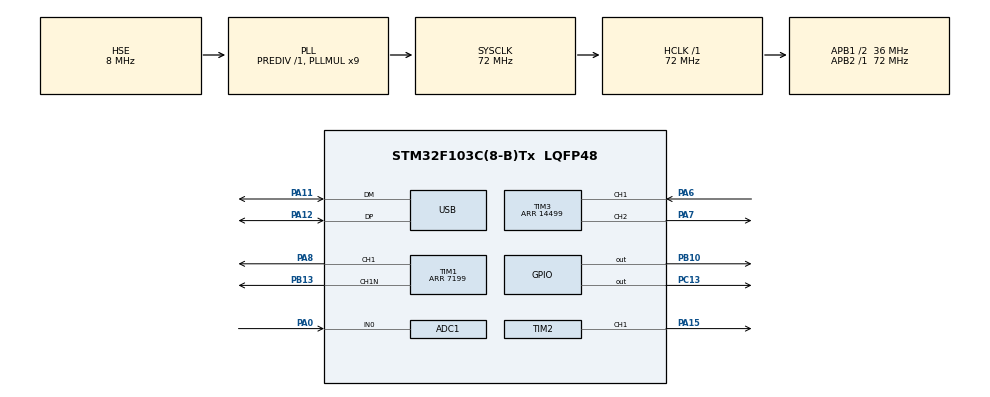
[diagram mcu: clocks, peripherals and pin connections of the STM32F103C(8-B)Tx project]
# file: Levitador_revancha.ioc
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ADC1.Channel-0\#ChannelRegularConversion=ADC_CHANNEL_0
ADC1.ExternalTrigConv=ADC_EXTERNALTRIGCONV_T3_TRGO
ADC1.NbrOfConversionFlag=1
ADC1.Rank-0\#ChannelRegularConversion=1
ADC1.SamplingTime-0\#ChannelRegularConversion=ADC_SAMPLETIME_1CYCLE_5
ADC1.master=1
Mcu.Family=STM32F1
Mcu.Name=STM32F103C(8-B)Tx
Mcu.Package=LQFP48
NVIC.ADC1_2_IRQn=true\:0\:0\:false\:false\:true\:true\:true\:true
NVIC.PriorityGroup=NVIC_PRIORITYGROUP_4
NVIC.TIM3_IRQn=true\:0\:0\:false\:false\:true\:true\:true\:true
NVIC.USB_LP_CAN1_RX0_IRQn=true\:0\:0\:false\:false\:true\:true\:true\:true
PA0-WKUP.Signal=ADCx_IN0
PA11.Mode=Device
PA11.Signal=USB_DM
PA12.Mode=Device
PA12.Signal=USB_DP
PA13.Mode=Serial_Wire
PA13.Signal=SYS_JTMS-SWDIO
PA14.Mode=Serial_Wire
PA14.Signal=SYS_JTCK-SWCLK
PA15.Signal=S_TIM2_CH1_ETR
PA6.Signal=S_TIM3_CH1
PA7.Signal=S_TIM3_CH2
PA8.Signal=S_TIM1_CH1
PB10.Signal=GPIO_Output
PB13.Mode=PWM Generation1 CH1 CH1N
PB13.Signal=TIM1_CH1N
PC13-TAMPER-RTC.Signal=GPIO_Output
PC14-OSC32_IN.Mode=LSE-External-Oscillator
PC14-OSC32_IN.Signal=RCC_OSC32_IN
PC15-OSC32_OUT.Mode=LSE-External-Oscillator
PC15-OSC32_OUT.Signal=RCC_OSC32_OUT
PD0-OSC_IN.Mode=HSE-External-Oscillator
PD0-OSC_IN.Signal=RCC_OSC_IN
PD1-OSC_OUT.Mode=HSE-External-Oscillator
PD1-OSC_OUT.Signal=RCC_OSC_OUT
ProjectManager.HeapSize=0x200
ProjectManager.StackSize=0x400
ProjectManager.TargetToolchain=STM32CubeIDE
RCC.ADCPresc=RCC_ADCPCLK2_DIV6
RCC.AHBFreq_Value=72000000
RCC.APB1CLKDivider=RCC_HCLK_DIV2
RCC.APB1Freq_Value=36000000
RCC.APB1TimFreq_Value=72000000
RCC.APB2Freq_Value=72000000
RCC.APB2TimFreq_Value=72000000
RCC.HCLKFreq_Value=72000000
RCC.PLLMUL=RCC_PLL_MUL9
RCC.SYSCLKFreq_VALUE=72000000
RCC.SYSCLKSource=RCC_SYSCLKSOURCE_PLLCLK
RCC.USBFreq_Value=48000000
RCC.USBPrescaler=RCC_USBCLKSOURCE_PLL_DIV1_5
SH.ADCx_IN0.0=ADC1_IN0,IN0
SH.S_TIM1_CH1.0=TIM1_CH1,PWM Generation1 CH1 CH1N
SH.S_TIM2_CH1_ETR.0=TIM2_CH1,PWM Generation1 CH1
SH.S_TIM3_CH1.0=TIM3_CH1,Input_Capture1_from_TI1
SH.S_TIM3_CH2.0=TIM3_CH2,PWM Generation2 CH2
TIM1.Channel-PWM\ Generation1\ CH1\ CH1N=TIM_CHANNEL_1
TIM1.DeadTime=40
TIM1.OCMode_PWM-PWM\ Generation1\ CH1\ CH1N=TIM_OCMODE_PWM1
TIM1.OCNPolarity_1=TIM_OCNPOLARITY_LOW
TIM1.OCPolarity_1=TIM_OCPOLARITY_LOW
TIM1.Period=7199
TIM1.Pulse-PWM\ Generation1\ CH1\ CH1N=3600
TIM1.TIM_MasterOutputTrigger=TIM_TRGO_UPDATE
TIM2.Channel-PWM\ Generation1\ CH1=TIM_CHANNEL_1
TIM2.OCPolarity_1=TIM_OCPOLARITY_LOW
TIM2.Period=71
TIM2.Pulse-PWM\ Generation1\ CH1=35
TIM3.Channel-Input_Capture1_from_TI1=TIM_CHANNEL_1
TIM3.Channel-PWM\ Generation2\ CH2=TIM_CHANNEL_2
TIM3.ICFilter_CH1=15
TIM3.Period=14499
TIM3.Pulse-PWM\ Generation2\ CH2=72
TIM3.TIM_MasterOutputTrigger=TIM_TRGO_UPDATE
USB_DEVICE.CLASS_NAME_FS=CDC
USB_DEVICE.VirtualMode=Cdc
USB_DEVICE.VirtualModeFS=Cdc_FS
VP_USB_DEVICE_VS_USB_DEVICE_CDC_FS.Mode=CDC_FS
board=custom

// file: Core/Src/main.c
/* USER CODE BEGIN Header */
/**
 ******************************************************************************
 * @file           : main.c
 * @brief          : Main program body
 ******************************************************************************
 * @attention
 *
 * Copyright (c) 2024 STMicroelectronics.
 * All rights reserved.
 *
 * This software is licensed under terms that can be found in the LICENSE file
 * in the root directory of this software component.
 * If no LICENSE file comes with this software, it is provided AS-IS.
 *
 ******************************************************************************
 */
/* USER CODE END Header */
#include "main.h"
#include "usb_device.h"

/* USER CODE BEGIN Includes */
// My includes
#include "string.h"
#include "usbd_cdc_if.h"
#include "stdlib.h"
#include "stdint.h"
/* USER CODE END Includes */

ADC_HandleTypeDef hadc1;

TIM_HandleTypeDef htim1;
TIM_HandleTypeDef htim2;
TIM_HandleTypeDef htim3;

void SystemClock_Config(void);
static void MX_GPIO_Init(void);
static void MX_ADC1_Init(void);
static void MX_TIM1_Init(void);
static void MX_TIM2_Init(void);
static void MX_TIM3_Init(void);

/* USER CODE BEGIN 0 */

#define WORD_LENGHT 32
#define INTEGER_BITS 6
#define FRACTIONAL_BITS 26

typedef int32_t fixed_point_t;
#define FLOAT_TO_FIXED(x) ((fixed_point_t)((x) * (1 << FRACTIONAL_BITS)))

// conversion entre fixed point y int
fixed_point_t float_to_fixed(float x)
{
  return (fixed_point_t)(x * (1 << FRACTIONAL_BITS));
}

float fixed_to_float(fixed_point_t x)
{
  return (float)x / (1 << FRACTIONAL_BITS);
}

fixed_point_t fixed_multiply(fixed_point_t a, fixed_point_t b)
{
  return (fixed_point_t)(((int64_t)a * b) >> FRACTIONAL_BITS);
}

void matmul(int rowsA, int colsA, int colsB,
            const fixed_point_t A[rowsA][colsA],
            const fixed_point_t B[colsA][colsB],
            fixed_point_t result[rowsA][colsB])
{
  for (int i = 0; i < rowsA; i++)
  {
    for (int j = 0; j < colsB; j++)
    {
      result[i][j] = 0;
      for (int k = 0; k < colsA; k++)
      {
        result[i][j] += fixed_multiply(A[i][k], B[k][j]);
      }
    }
  }
}

/**
 * @brief Adds two vectors of fixed-point numbers element-wise.
 *
 * This function takes two input vectors `a` and `b`, each of size `size` and
 * containing fixed-point numbers, and computes their element-wise sum, storing
 * the result in the `result` vector.
 *
 * @param size The number of elements in each vector.
 * @param a The first input vector of fixed-point numbers.
 * @param b The second input vector of fixed-point numbers.
 * @param result The output vector where the element-wise sum of `a` and `b` will be stored.
 */
void vecadd(int size,
            const fixed_point_t a[size][1],
            const fixed_point_t b[size][1],
            fixed_point_t result[size][1])
{
  for (size_t i = 0; i < size; i++)
  {
    result[i][0] = a[i][0] + b[i][0];
  }
}

void convert_matrix_to_fixed(int rows, int cols, const float matrix_float[rows][cols], fixed_point_t matrix_fixed[rows][cols])
{
  for (int i = 0; i < rows; i++)
  {
    for (int j = 0; j < cols; j++)
    {
      matrix_fixed[i][j] = float_to_fixed(matrix_float[i][j]);
    }
  }
}

// Variables Kalman
fixed_point_t G[3][3] = {
    {FLOAT_TO_FIXED(0.988195229545670f),
     FLOAT_TO_FIXED(0.0f),
     FLOAT_TO_FIXED(0.0f)},
    {FLOAT_TO_FIXED(-0.000000061477779f),
     FLOAT_TO_FIXED(1.000002800001307f),
     FLOAT_TO_FIXED(0.000100000093333f)},
    {FLOAT_TO_FIXED(-0.001227127465612f),
     FLOAT_TO_FIXED(0.056000052266681f),
     FLOAT_TO_FIXED(1.000002800001307f)}};

fixed_point_t x_hat[3][1] = {
    {FLOAT_TO_FIXED(1.09287f)},
    {FLOAT_TO_FIXED(0.035f)},
    {FLOAT_TO_FIXED(0.0f)}};

fixed_point_t Cminus[2][3] = {
    {-1 << FRACTIONAL_BITS, 0, 0},
    {0, -1 << FRACTIONAL_BITS, 0}};

fixed_point_t Kkalman[3][2] = {
  {FLOAT_TO_FIXED(0.999892934165581f), FLOAT_TO_FIXED(-0.993413813308360f)},
  {FLOAT_TO_FIXED(-0.000107065834419), FLOAT_TO_FIXED(0.006586186691640f)},
  {FLOAT_TO_FIXED(-0.001670662992121), FLOAT_TO_FIXED(0.112630884108006f)}};

// Taking the action into account
fixed_point_t H_fixed[1][3] = {
    {FLOAT_TO_FIXED(0.003106f),
     FLOAT_TO_FIXED(0.0f),
     FLOAT_TO_FIXED(-0.000001921180583f)}
    // ,{
    //     FLOAT_TO_FIXED(0.0015578f),
    //     FLOAT_TO_FIXED(0.0f),
    //     FLOAT_TO_FIXED(0.0001f)
    // }
};

// faking a measurement Y
fixed_point_t y[2][1] = {
    {FLOAT_TO_FIXED(1.09287f)},
    {FLOAT_TO_FIXED(0.025f)}};

// Variables de comunicacion
char buffer[20];

// Variables para llenar en el callback
fixed_point_t x_hat_1[3][1];
fixed_point_t y_hat_negative[2][1];
fixed_point_t z_hat[2][1];
fixed_point_t lz[3][1];
fixed_point_t x_hat_result[3][1];

// Variables Fisicas
// int h_prom = 30;
uint32_t h_prom = 2900;
/// @brief Esta funcion se llama cuando cuando se detecta un flanco asendente en el
/// pin de señal de sensado de la camara.
/// Cuando se ejecuta, se actualiza el valor de h_prom con el valor de la señal, y
/// se hace un toggle al PIN 13, (???) (que hace el pin 13?)
/// @param htim
int captura = 0;
void HAL_TIM_IC_CaptureCallback(TIM_HandleTypeDef *htim)
{
  h_prom = TIM3->CCR1;
  // I don't remember why this is here
  //	mayor a 2900 lo ignoro, sino actualizo el valor por los pixeles al final del sensor
  if (captura == 0)
  {
    if (h_prom > 2900)
    {
      h_prom = h_prom;

    }
    else
    {
      h_prom = 2900;
    }
    HAL_GPIO_TogglePin(GPIOC, GPIO_PIN_13); // What is this for??? A LED?
    captura = 1;
  }
}

fixed_point_t Kd[1][3] = {
    {FLOAT_TO_FIXED(0.0018029293079868),
     FLOAT_TO_FIXED(-0.4111538385920691),
     FLOAT_TO_FIXED(-0.0146874468496660)}};
fixed_point_t h_ref = FLOAT_TO_FIXED(0.035f);
fixed_point_t precomp = FLOAT_TO_FIXED(-0.1662218623972525);
fixed_point_t u[1][1];

float i;
float u_float = 5.8;
volatile float h = 0.035; // Declare the variable
initialized = 0;
float h_hat_float= 0.035;
float i_hat_float;
float v_hat_float;
float u_raw;
float h_error_int;

// DOB parameters (adjust as needed)
#define DT        0.0001f   // Sampling time
#define Gg         9.81f     // Gravity
#define M         0.042f    // Mass (kg)
#define K_NOM     0.0004f   // Nominal k value
#define ALPHA     0.02f     // Smoothing factor

// Persistent variables (should be static or global)
static float d_prev = 0.0f;
static float v_prev = 0.0f;
static float i_prev = 0.0f;
static float h_prev = 0.0f;
static const float K_OVER2M = K_NOM / (2.0f * M);
static const int K_dist= 13000;

void HAL_ADC_ConvCpltCallback(ADC_HandleTypeDef *hadc)
{
  if (captura == 1)
  {
    i = HAL_ADC_GetValue(&hadc1) * 0.0023157 - 4.785;
    h = ((h_prom) * 0.0272065 - 63.235847) * 0.001;
    // h = ((h_prom) * 0.0272065 - 63.235847) * 0.001; // valor en mm

    // if (isnan(h)){
    //   h = h_hat_float;
    // }
    if (isnan(h) || h < 0.0f || h > 0.15f) {  // Assuming sensor can't be outside 0–100mm
      h = h_hat_float;
    }

    if (initialized == 0)
    {
      // Initialize x_hat with the first measurement
      x_hat[0][0] = FLOAT_TO_FIXED(1.09287f);
      x_hat[1][0] = FLOAT_TO_FIXED(h);
      x_hat[2][0] = FLOAT_TO_FIXED(0.0f);
      initialized = 1;
    }

    y[0][0] = FLOAT_TO_FIXED(1.09287f);//FLOAT_TO_FIXED(i);
    y[1][0] = FLOAT_TO_FIXED(h);

    // Implementar el filtro de kalman
    // MATH
    // step 1: x_hat = G*x_hat + H*u
    // step 2: y_hat = C*x_hat
    // step 3: z_hat = y - y_hat
    // step 4: x_hat = x_hat + K*z_hat

    // Perform calculations
    // step 1: x_hat = G*x_hat + H*u
    fixed_point_t Gx_hat[3][1];
    fixed_point_t x_hat_1[3][1];
    matmul(3, 3, 1, G, x_hat, Gx_hat);//Gx_hat); // G*x_hat

    fixed_point_t H_fixed_u[3][1] = {0}; // Initialize to zero
    H_fixed_u[0][0] = fixed_multiply(H_fixed[0][0], FLOAT_TO_FIXED(u_float));
    H_fixed_u[2][0] = fixed_multiply(H_fixed[0][2], FLOAT_TO_FIXED(u_float));
    vecadd(3, Gx_hat, H_fixed_u, x_hat_1); // G x_hat + H_u

    // step 2: y_hat = Cminus*x_hat
    fixed_point_t y_hat_negative[2][1];
    matmul(2, 3, 1, Cminus, x_hat_1, y_hat_negative); // - C x_hat
    // step 3: z_hat = y + y_hat_negative
    vecadd(2, y, y_hat_negative, z_hat);  // z = y - y_hat
    // step 4: x_hat = x_hat + K*z_hat
    matmul(3, 2, 1, Kkalman, z_hat, lz); // K z_hat
    vecadd(3, x_hat_1, lz, x_hat); // x_hat
    // Save x_hat_result back to x_hat

    // for (int i = 0; i < 3; i++)
    // {
    //   x_hat[i][0] = x_hat_result[i][0];
    // }

    // LQR
    // Kd = [0.018029293079868  -4.111538385920691  -0.146874468496660]
    // precomp = -1.662218623972525
    // step 1: u = -K*x + precomp * h_ref
    // u = -K*x + precomp * h_ref
    //

    // --- Integral error update ---
    float dt = 0.0001f; // 1/10000
    float h_ref_f = 0.04f;
    float K_I = 1.0f; // Tune as needed
    h_error_int += (h_ref_f - h) * dt;

    matmul(3, 1, 1, Kd, x_hat, u);
    i_hat_float = fixed_to_float(x_hat[0][0]);
    h_hat_float = fixed_to_float(x_hat[1][0]);
    v_hat_float = fixed_to_float(x_hat[2][0]);
    u_raw =   -(1.6728493*i_hat_float - -420.629612 *h_hat_float - 19.55126*v_hat_float - 172.3527895 * h_ref_f);
    float u_int = K_I * h_error_int;

    if (u_int < -1){
      u_int = -1;
    }
    else if (u_int > 1) {
      u_int = 1;
    }

    // DOB
    float i_now = i_hat_float;
    float h_now = h_hat_float;
    float v_now = v_hat_float;

    float h2 = h_prev * h_prev;

    if (h2 < 1e-6f)
    {
      h2 = 1e-8f;
    }

    float model_accel = Gg - (K_OVER2M)*(i_prev*i_prev) / h2;
    float v_pred = v_prev + model_accel * DT;
    float d_raw = v_now - v_pred;
    float d_omega_hat = (1.0f- ALPHA) * d_prev + ALPHA * d_raw;

    d_prev = d_omega_hat;
    v_prev = v_now;
    i_prev = i_now;
    h_prev = h_now;

    u_raw += u_int;

    v_prev = v_now;
    i_prev = i_now;
    h_prev = h_now;
    //u_raw = -(1.5276*i_hat_float -399.2845*h_hat_float  -16.8755*v_hat_float + 166.390041 * 0.035);

    // u[0][0] = -u[0][0] + precomp * h_ref;
    //u_float = -1e3 * fixed_to_float(u[0][0]);

    // Use x_hat_result_float for further processing
    // convert u to the range of the PWM
    // Convert u to the range of the PWM, v_max = 12, v_min = 0
    // ARR = 7199
    // duty_cycle = CRR/ARR;
    u_raw += K_dist * d_omega_hat;
    if (u_raw < 0)
    {
      u_float = 0;
    }
    else if (u_raw > 12)
    {
      u_float = 12;
    }
    else{
      u_float = u_raw;
    }
    TIM1->CCR1 = (uint32_t)((u_float / 12.0f) * 7199);
    captura = 0;
  }
}

static int direction = 1;
static int value = 0;
int value2 = 100;
int signal_1;
int signal_2;

/* USER CODE END 0 */

int main(void)
{

  /* MCU Configuration--------------------------------------------------------*/

  /* Reset of all peripherals, Initializes the Flash interface and the Systick. */
  HAL_Init();

  /* Configure the system clock */
  SystemClock_Config();

  /* Initialize all configured peripherals */
  MX_GPIO_Init();
  MX_ADC1_Init();
  MX_TIM1_Init();
  MX_TIM2_Init();
  MX_TIM3_Init();
  MX_USB_DEVICE_Init();
  /* USER CODE BEGIN 2 */
  HAL_ADC_Start_IT(&hadc1);
  HAL_TIM_PWM_Start(&htim3, TIM_CHANNEL_2);
  HAL_TIM_IC_Start_IT(&htim3, TIM_CHANNEL_1);
  HAL_TIM_PWM_Start(&htim2, TIM_CHANNEL_1);
  HAL_TIM_PWM_Start(&htim1, TIM_CHANNEL_1);
  HAL_TIMEx_PWMN_Start(&htim1, TIM_CHANNEL_1);
  /* USER CODE END 2 */

  /* Infinite loop */
  /* USER CODE BEGIN WHILE */
  char data[35];

  while (1)
  {
    /* USER CODE END WHILE */
    HAL_Delay(100);
    // signal_1 = (int)(h*1000);
    // signal_2 = (int)(h_hat*1000);

    sprintf(data, "%d|%d\n", (int)(h_hat_float*10000), (int)(h*10000));
    CDC_Transmit_FS(data, strlen(data));
  }
}

void SystemClock_Config(void)
{
  RCC_OscInitTypeDef RCC_OscInitStruct = {0};
  RCC_ClkInitTypeDef RCC_ClkInitStruct = {0};
  RCC_PeriphCLKInitTypeDef PeriphClkInit = {0};

  /** Initializes the RCC Oscillators according to the specified parameters
  * in the RCC_OscInitTypeDef structure.
  */
  RCC_OscInitStruct.OscillatorType = RCC_OSCILLATORTYPE_HSE;
  RCC_OscInitStruct.HSEState = RCC_HSE_ON;
  RCC_OscInitStruct.HSEPredivValue = RCC_HSE_PREDIV_DIV1;
  RCC_OscInitStruct.HSIState = RCC_HSI_ON;
  RCC_OscInitStruct.PLL.PLLState = RCC_PLL_ON;
  RCC_OscInitStruct.PLL.PLLSource = RCC_PLLSOURCE_HSE;
  RCC_OscInitStruct.PLL.PLLMUL = RCC_PLL_MUL9;
  if (HAL_RCC_OscConfig(&RCC_OscInitStruct) != HAL_OK)
  {
    Error_Handler();
  }

  /** Initializes the CPU, AHB and APB buses clocks
  */
  RCC_ClkInitStruct.ClockType = RCC_CLOCKTYPE_HCLK|RCC_CLOCKTYPE_SYSCLK
                                |RCC_CLOCKTYPE_PCLK1|RCC_CLOCKTYPE_PCLK2;
  RCC_ClkInitStruct.SYSCLKSource = RCC_SYSCLKSOURCE_PLLCLK;
  RCC_ClkInitStruct.AHBCLKDivider = RCC_SYSCLK_DIV1;
  RCC_ClkInitStruct.APB1CLKDivider = RCC_HCLK_DIV2;
  RCC_ClkInitStruct.APB2CLKDivider = RCC_HCLK_DIV1;

  if (HAL_RCC_ClockConfig(&RCC_ClkInitStruct, FLASH_LATENCY_2) != HAL_OK)
  {
    Error_Handler();
  }
  PeriphClkInit.PeriphClockSelection = RCC_PERIPHCLK_ADC|RCC_PERIPHCLK_USB;
  PeriphClkInit.AdcClockSelection = RCC_ADCPCLK2_DIV6;
  PeriphClkInit.UsbClockSelection = RCC_USBCLKSOURCE_PLL_DIV1_5;
  if (HAL_RCCEx_PeriphCLKConfig(&PeriphClkInit) != HAL_OK)
  {
    Error_Handler();
  }
}

static void MX_ADC1_Init(void)
{

  ADC_ChannelConfTypeDef sConfig = {0};

  /** Common config
  */
  hadc1.Instance = ADC1;
  hadc1.Init.ScanConvMode = ADC_SCAN_DISABLE;
  hadc1.Init.ContinuousConvMode = DISABLE;
  hadc1.Init.DiscontinuousConvMode = DISABLE;
  hadc1.Init.ExternalTrigConv = ADC_EXTERNALTRIGCONV_T3_TRGO;
  hadc1.Init.DataAlign = ADC_DATAALIGN_RIGHT;
  hadc1.Init.NbrOfConversion = 1;
  if (HAL_ADC_Init(&hadc1) != HAL_OK)
  {
    Error_Handler();
  }

  /** Configure Regular Channel
  */
  sConfig.Channel = ADC_CHANNEL_0;
  sConfig.Rank = ADC_REGULAR_RANK_1;
  sConfig.SamplingTime = ADC_SAMPLETIME_1CYCLE_5;
  if (HAL_ADC_ConfigChannel(&hadc1, &sConfig) != HAL_OK)
  {
    Error_Handler();
  }

}

static void MX_TIM1_Init(void)
{

  TIM_MasterConfigTypeDef sMasterConfig = {0};
  TIM_OC_InitTypeDef sConfigOC = {0};
  TIM_BreakDeadTimeConfigTypeDef sBreakDeadTimeConfig = {0};

  htim1.Instance = TIM1;
  htim1.Init.Prescaler = 0;
  htim1.Init.CounterMode = TIM_COUNTERMODE_UP;
  htim1.Init.Period = 7199;
  htim1.Init.ClockDivision = TIM_CLOCKDIVISION_DIV1;
  htim1.Init.RepetitionCounter = 0;
  htim1.Init.AutoReloadPreload = TIM_AUTORELOAD_PRELOAD_DISABLE;
  if (HAL_TIM_PWM_Init(&htim1) != HAL_OK)
  {
    Error_Handler();
  }
  sMasterConfig.MasterOutputTrigger = TIM_TRGO_UPDATE;
  sMasterConfig.MasterSlaveMode = TIM_MASTERSLAVEMODE_DISABLE;
  if (HAL_TIMEx_MasterConfigSynchronization(&htim1, &sMasterConfig) != HAL_OK)
  {
    Error_Handler();
  }
  sConfigOC.OCMode = TIM_OCMODE_PWM1;
  sConfigOC.Pulse = 3600;
  sConfigOC.OCPolarity = TIM_OCPOLARITY_LOW;
  sConfigOC.OCNPolarity = TIM_OCNPOLARITY_LOW;
  sConfigOC.OCFastMode = TIM_OCFAST_DISABLE;
  sConfigOC.OCIdleState = TIM_OCIDLESTATE_RESET;
  sConfigOC.OCNIdleState = TIM_OCNIDLESTATE_RESET;
  if (HAL_TIM_PWM_ConfigChannel(&htim1, &sConfigOC, TIM_CHANNEL_1) != HAL_OK)
  {
    Error_Handler();
  }
  sBreakDeadTimeConfig.OffStateRunMode = TIM_OSSR_DISABLE;
  sBreakDeadTimeConfig.OffStateIDLEMode = TIM_OSSI_DISABLE;
  sBreakDeadTimeConfig.LockLevel = TIM_LOCKLEVEL_OFF;
  sBreakDeadTimeConfig.DeadTime = 40;
  sBreakDeadTimeConfig.BreakState = TIM_BREAK_DISABLE;
  sBreakDeadTimeConfig.BreakPolarity = TIM_BREAKPOLARITY_HIGH;
  sBreakDeadTimeConfig.AutomaticOutput = TIM_AUTOMATICOUTPUT_DISABLE;
  if (HAL_TIMEx_ConfigBreakDeadTime(&htim1, &sBreakDeadTimeConfig) != HAL_OK)
  {
    Error_Handler();
  }
  HAL_TIM_MspPostInit(&htim1);

}

static void MX_TIM2_Init(void)
{

  TIM_MasterConfigTypeDef sMasterConfig = {0};
  TIM_OC_InitTypeDef sConfigOC = {0};

  htim2.Instance = TIM2;
  htim2.Init.Prescaler = 0;
  htim2.Init.CounterMode = TIM_COUNTERMODE_UP;
  htim2.Init.Period = 71;
  htim2.Init.ClockDivision = TIM_CLOCKDIVISION_DIV1;
  htim2.Init.AutoReloadPreload = TIM_AUTORELOAD_PRELOAD_DISABLE;
  if (HAL_TIM_PWM_Init(&htim2) != HAL_OK)
  {
    Error_Handler();
  }
  sMasterConfig.MasterOutputTrigger = TIM_TRGO_RESET;
  sMasterConfig.MasterSlaveMode = TIM_MASTERSLAVEMODE_DISABLE;
  if (HAL_TIMEx_MasterConfigSynchronization(&htim2, &sMasterConfig) != HAL_OK)
  {
    Error_Handler();
  }
  sConfigOC.OCMode = TIM_OCMODE_PWM1;
  sConfigOC.Pulse = 35;
  sConfigOC.OCPolarity = TIM_OCPOLARITY_LOW;
  sConfigOC.OCFastMode = TIM_OCFAST_DISABLE;
  if (HAL_TIM_PWM_ConfigChannel(&htim2, &sConfigOC, TIM_CHANNEL_1) != HAL_OK)
  {
    Error_Handler();
  }
  HAL_TIM_MspPostInit(&htim2);

}

static void MX_TIM3_Init(void)
{

  TIM_MasterConfigTypeDef sMasterConfig = {0};
  TIM_IC_InitTypeDef sConfigIC = {0};
  TIM_OC_InitTypeDef sConfigOC = {0};

  htim3.Instance = TIM3;
  htim3.Init.Prescaler = 0;
  htim3.Init.CounterMode = TIM_COUNTERMODE_UP;
  htim3.Init.Period = 14499;
  htim3.Init.ClockDivision = TIM_CLOCKDIVISION_DIV1;
  htim3.Init.AutoReloadPreload = TIM_AUTORELOAD_PRELOAD_DISABLE;
  if (HAL_TIM_IC_Init(&htim3) != HAL_OK)
  {
    Error_Handler();
  }
  if (HAL_TIM_PWM_Init(&htim3) != HAL_OK)
  {
    Error_Handler();
  }
  sMasterConfig.MasterOutputTrigger = TIM_TRGO_UPDATE;
  sMasterConfig.MasterSlaveMode = TIM_MASTERSLAVEMODE_DISABLE;
  if (HAL_TIMEx_MasterConfigSynchronization(&htim3, &sMasterConfig) != HAL_OK)
  {
    Error_Handler();
  }
  sConfigIC.ICPolarity = TIM_INPUTCHANNELPOLARITY_RISING;
  sConfigIC.ICSelection = TIM_ICSELECTION_DIRECTTI;
  sConfigIC.ICPrescaler = TIM_ICPSC_DIV1;
  sConfigIC.ICFilter = 15;
  if (HAL_TIM_IC_ConfigChannel(&htim3, &sConfigIC, TIM_CHANNEL_1) != HAL_OK)
  {
    Error_Handler();
  }
  sConfigOC.OCMode = TIM_OCMODE_PWM1;
  sConfigOC.Pulse = 72;
  sConfigOC.OCPolarity = TIM_OCPOLARITY_HIGH;
  sConfigOC.OCFastMode = TIM_OCFAST_DISABLE;
  if (HAL_TIM_PWM_ConfigChannel(&htim3, &sConfigOC, TIM_CHANNEL_2) != HAL_OK)
  {
    Error_Handler();
  }
  HAL_TIM_MspPostInit(&htim3);

}

static void MX_GPIO_Init(void)
{
  GPIO_InitTypeDef GPIO_InitStruct = {0};

  /* GPIO Ports Clock Enable */
  __HAL_RCC_GPIOC_CLK_ENABLE();
  __HAL_RCC_GPIOD_CLK_ENABLE();
  __HAL_RCC_GPIOA_CLK_ENABLE();
  __HAL_RCC_GPIOB_CLK_ENABLE();

  /*Configure GPIO pin Output Level */
  HAL_GPIO_WritePin(GPIOC, GPIO_PIN_13, GPIO_PIN_RESET);

  /*Configure GPIO pin Output Level */
  HAL_GPIO_WritePin(GPIOB, GPIO_PIN_10, GPIO_PIN_RESET);

  /*Configure GPIO pin : PC13 */
  GPIO_InitStruct.Pin = GPIO_PIN_13;
  GPIO_InitStruct.Mode = GPIO_MODE_OUTPUT_PP;
  GPIO_InitStruct.Pull = GPIO_NOPULL;
  GPIO_InitStruct.Speed = GPIO_SPEED_FREQ_LOW;
  HAL_GPIO_Init(GPIOC, &GPIO_InitStruct);

  /*Configure GPIO pin : PB10 */
  GPIO_InitStruct.Pin = GPIO_PIN_10;
  GPIO_InitStruct.Mode = GPIO_MODE_OUTPUT_PP;
  GPIO_InitStruct.Pull = GPIO_NOPULL;
  GPIO_InitStruct.Speed = GPIO_SPEED_FREQ_LOW;
  HAL_GPIO_Init(GPIOB, &GPIO_InitStruct);

}

void Error_Handler(void)
{
  __disable_irq();
  while (1)
  {
  }
}
